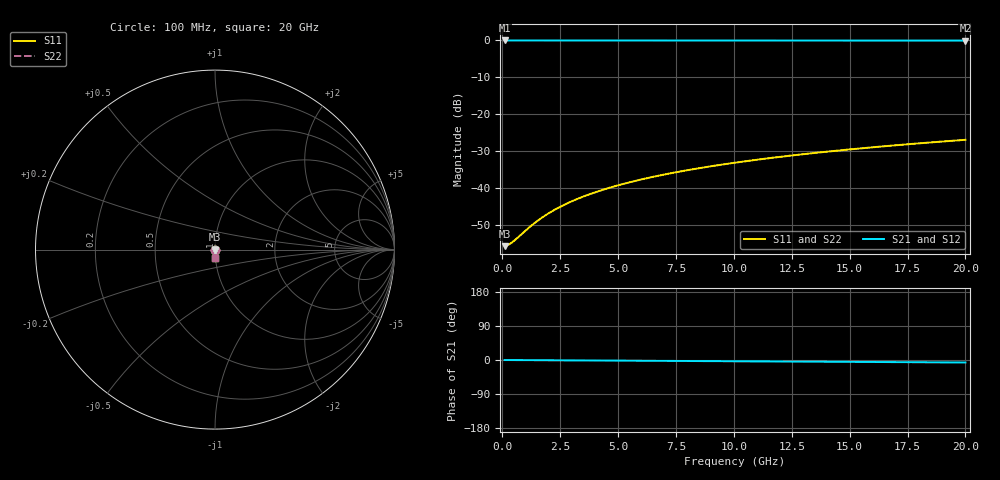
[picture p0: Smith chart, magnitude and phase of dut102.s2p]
! Touchstone file exported from HFSS 2026.1.0
!  File:  C:/ffzhzh/LocalFiles/Ansys_Project_Files/temp_train_TSV_102_1782989485_6248.aedt
!  Generated:  06:53:04 PM Jul  2, 2026
!  Design:  TSV
!  Project:  temp_train_TSV_102_1782989485_6248
! Variables:
!  h_bsmrdl = 2um
!  h_ox = 20um
!  h_rdl = 5um
!  h_sub = 64.33um
!  h_tmrdl = 5um
!  h_tsv = 64.33um
!  h_via = 3um
!  l_bsmrdl = 300um
!  l_sub = 404.26um
!  l_tmrdl = 200um
!  m_sub = 200um
!  pitch = 5.87um
!  r_tsv = 2.13um
!  s_tmrdl = 10um
!  w_bsmrdl = 18um
!  w_sub = 500um
!  w_tmrdl = 12um
!  x_tsv_center1 = 206um
!  x_tsv_center2 = 524um
!  x_tsv_center3 = 736um
!  x_tsv_center4 = 1054um
!  x_tsv_center5 = 1266um
!  x_tsv_center6 = 1584um
# GHz S MA R 50.000000
! Terminal data exported
! Port[1] = TSV1_1_T1
! Port[2] = TSV1_1_T2
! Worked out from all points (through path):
!   200 points, 100 MHz to 20 GHz, reference 50 ohm
!   highest |S21| = -0.01 dB at 100 MHz (marker M1); lowest = 0.0 dB at 20 GHz (marker M2)
!   lowest |S11| = -55.6 dB at 100 MHz (marker M3), VSWR 1.00, Z = 50.2 - j0.0174 ohm
!   |S11| at or under -10 dB: start of sweep to end of sweep
!   |S22| runs from -55.6 to -26.9 dB; largest |S21 - S12| = 1.1e-15
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0.1  0.001655 -6.0  0.9984 -0.0  0.9984 -0.0  0.001655 -6.0
! Gamma 0 0 0 0
! Port Impedance 50 0 50 0
0.2  0.001694 -11.9  0.9983 -0.1  0.9983 -0.1  0.001694 -11.9
0.4  0.001842 -22.8  0.9983 -0.1  0.9983 -0.1  0.001842 -22.8
0.6  0.002068 -32.1  0.9982 -0.2  0.9982 -0.2  0.002068 -32.1
1.3  0.00322 -53.4  0.9981 -0.4  0.9981 -0.4  0.00322 -53.4
1.6  0.003797 -58.8  0.998 -0.5  0.998 -0.5  0.003797 -58.8
1.9  0.004397 -62.9  0.9979 -0.6  0.9979 -0.6  0.004397 -62.9
2.2  0.005011 -66.2  0.9979 -0.7  0.9979 -0.7  0.005011 -66.2
2.6  0.005844 -69.5  0.9979 -0.9  0.9979 -0.9  0.005844 -69.5
3  0.006688 -72.1  0.9978 -1.0  0.9978 -1.0  0.006688 -72.1
3.5  0.007755 -74.6  0.9978 -1.2  0.9978 -1.2  0.007755 -74.6
4.2  0.009262 -77.1  0.9977 -1.4  0.9977 -1.4  0.009262 -77.1
5  0.011 -79.2  0.9976 -1.7  0.9976 -1.7  0.011 -79.2
5.9  0.01297 -80.9  0.9974 -2.0  0.9974 -2.0  0.01297 -80.9
6.8  0.01496 -82.2  0.9973 -2.3  0.9973 -2.3  0.01496 -82.2
8.3  0.0183 -83.9  0.997 -2.8  0.997 -2.8  0.0183 -83.9
10.1  0.02235 -85.4  0.9967 -3.3  0.9967 -3.3  0.02235 -85.4
11.7  0.026 -86.5  0.9963 -3.9  0.9963 -3.9  0.026 -86.5
13.4  0.02991 -87.4  0.9959 -4.4  0.9959 -4.4  0.02991 -87.4
15  0.03361 -88.3  0.9955 -4.9  0.9955 -4.9  0.03361 -88.3
16.7  0.03758 -89.1  0.9951 -5.5  0.9951 -5.5  0.03758 -89.1
20  0.04533 -90.6  0.9943 -6.5  0.9943 -6.5  0.04533 -90.6
